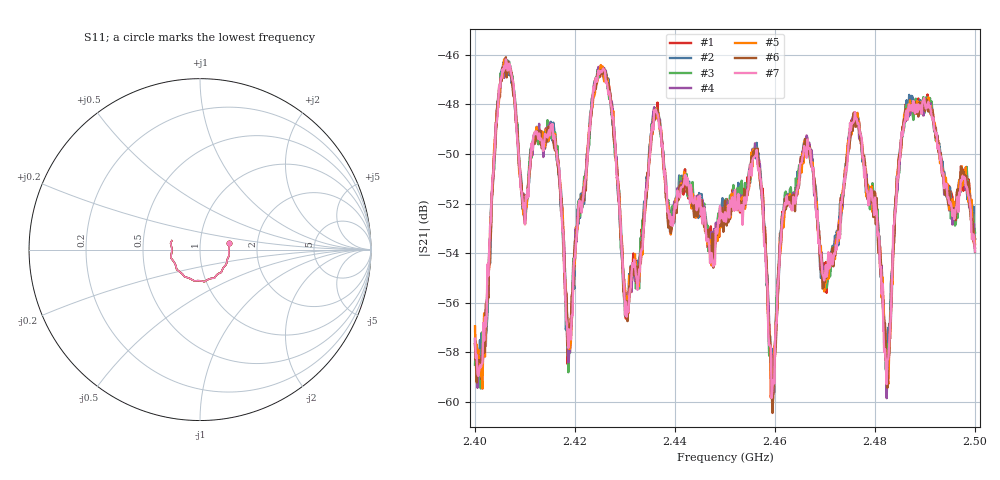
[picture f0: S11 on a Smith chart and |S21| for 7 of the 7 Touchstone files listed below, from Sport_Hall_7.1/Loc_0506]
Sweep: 2.4 GHz to 2.5 GHz
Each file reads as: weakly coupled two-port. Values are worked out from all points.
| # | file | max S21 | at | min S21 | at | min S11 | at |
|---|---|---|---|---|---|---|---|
| 1 | Lab_139_1Ch1.s2p | -46.29 dB | 2.4065 GHz | -60.4 dB | 2.4595 GHz | -15.7 dB | 2.4933 GHz |
| 2 | Lab_139_2Ch1.s2p | -46.24 dB | 2.406 GHz | -59.2 dB | 2.4825 GHz | -15.7 dB | 2.4933 GHz |
| 3 | Lab_139_4Ch1.s2p | -46.22 dB | 2.4065 GHz | -60.3 dB | 2.4595 GHz | -15.7 dB | 2.4935 GHz |
| 4 | Lab_139_5Ch1.s2p | -46.41 dB | 2.4068 GHz | -59.8 dB | 2.4823 GHz | -15.7 dB | 2.4932 GHz |
| 5 | Lab_139_8Ch1.s2p | -46.17 dB | 2.4058 GHz | -59.8 dB | 2.4592 GHz | -15.7 dB | 2.4933 GHz |
| 6 | Lab_139_9Ch1.s2p | -46.10 dB | 2.4062 GHz | -60.4 dB | 2.4595 GHz | -15.7 dB | 2.4932 GHz |
| 7 | Lab_139_10Ch1.s2p | -46.18 dB | 2.4062 GHz | -59.8 dB | 2.4593 GHz | -15.7 dB | 2.4932 GHz |
